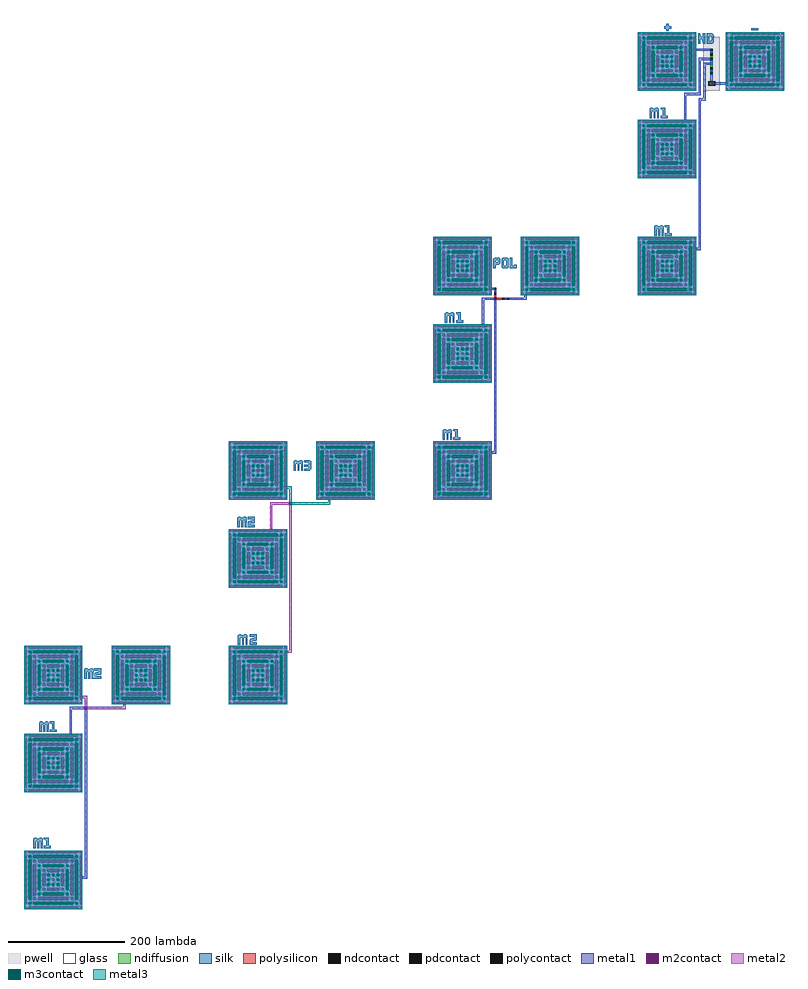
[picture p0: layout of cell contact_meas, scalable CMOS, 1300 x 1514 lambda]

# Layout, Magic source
magic
tech scmos
<< pwell >>
rect 1162 1400 1190 1492
<< polysilicon >>
rect 804 1055 808 1059
rect 804 1046 808 1051
rect 808 1042 818 1046
rect 822 1042 826 1046
<< ndiffusion >>
rect 1174 1464 1178 1468
rect 1174 1456 1178 1460
rect 1174 1440 1178 1452
rect 1174 1432 1178 1436
<< metal1 >>
rect 1150 1468 1174 1472
rect 1174 1464 1178 1468
rect 1154 1452 1174 1456
rect 1154 1396 1158 1452
rect 1174 1448 1178 1452
rect 1129 1392 1158 1396
rect 1162 1444 1178 1448
rect 1129 1350 1133 1392
rect 1162 1387 1166 1444
rect 1174 1432 1178 1436
rect 1174 1416 1178 1428
rect 1182 1410 1200 1414
rect 1154 1383 1166 1387
rect 1154 1131 1158 1383
rect 1150 1127 1158 1131
rect 800 1059 804 1063
rect 804 1055 808 1059
rect 856 1046 860 1050
rect 783 1042 804 1046
rect 822 1042 826 1046
rect 830 1042 860 1046
rect 783 1000 787 1042
rect 804 783 808 1042
rect 800 779 808 783
rect 78 342 104 346
rect 78 300 82 342
rect 104 56 108 342
rect 100 52 108 56
<< metal2 >>
rect 421 692 454 696
rect 421 650 425 692
rect 454 442 458 692
rect 450 438 458 442
rect 100 361 108 365
rect 104 346 108 361
rect 170 346 174 350
rect 108 342 174 346
<< metal3 >>
rect 450 719 458 723
rect 454 696 458 719
rect 520 696 524 700
rect 458 692 524 696
<< polycontact >>
rect 804 1059 808 1063
rect 804 1051 808 1055
rect 804 1042 808 1046
rect 818 1042 822 1046
rect 826 1042 830 1046
<< ndcontact >>
rect 1174 1468 1178 1472
rect 1174 1460 1178 1464
rect 1174 1452 1178 1456
rect 1174 1436 1178 1440
rect 1174 1428 1178 1432
<< pdcontact >>
rect 1170 1408 1182 1416
<< m2contact >>
rect 104 342 108 346
<< m3contact >>
rect 454 692 458 696
use L500_CHAR_plus  L500_CHAR_plus_0 ../../Library/magic
transform 1 0 1095 0 1 1498
box 0 4 12 16
use L500_CHAR_minus  L500_CHAR_minus_0 ../../Library/magic
transform 1 0 1244 0 1 1495
box 0 8 12 12
use L500_TPAD_blank  L500_TPAD_blank_8 ../../Library/magic
transform 1 0 1050 0 1 1400
box 0 0 100 100
use L500_CHAR_n  L500_CHAR_n_0 ../../Library/magic
transform 1 0 1153 0 1 1480
box 0 0 12 18
use L500_CHAR_d  L500_CHAR_d_0 ../../Library/magic
transform 1 0 1168 0 1 1480
box 0 0 12 18
use L500_TPAD_blank  L500_TPAD_blank_9
transform 1 0 1200 0 1 1400
box 0 0 100 100
use L500_CHAR_m  L500_CHAR_m_9 ../../Library/magic
transform 1 0 1070 0 1 1353
box 0 0 16 18
use L500_CHAR_1  L500_CHAR_1_5 ../../Library/magic
transform 1 0 1089 0 1 1353
box 0 0 12 18
use L500_TPAD_blank  L500_TPAD_blank_10
transform 1 0 1050 0 1 1250
box 0 0 100 100
use L500_CHAR_m  L500_CHAR_m_8
transform 1 0 1078 0 1 1152
box 0 0 16 18
use L500_CHAR_1  L500_CHAR_1_4
transform 1 0 1096 0 1 1152
box 0 0 12 18
use L500_TPAD_blank  L500_TPAD_blank_11
transform 1 0 700 0 1 1050
box 0 0 100 100
use L500_CHAR_p  L500_CHAR_p_0 ../../Library/magic
transform 1 0 803 0 1 1096
box 0 0 12 18
use L500_CHAR_o  L500_CHAR_o_0 ../../Library/magic
transform 1 0 817 0 1 1096
box 0 0 12 18
use L500_CHAR_l  L500_CHAR_l_0 ../../Library/magic
transform 1 0 831 0 1 1096
box 0 0 12 18
use L500_TPAD_blank  L500_TPAD_blank_12
transform 1 0 850 0 1 1050
box 0 0 100 100
use L500_TPAD_blank  L500_TPAD_blank_13
transform 1 0 1050 0 1 1050
box 0 0 100 100
use L500_CHAR_m  L500_CHAR_m_7
transform 1 0 720 0 1 1003
box 0 0 16 18
use L500_CHAR_1  L500_CHAR_1_3
transform 1 0 739 0 1 1003
box 0 0 12 18
use L500_TPAD_blank  L500_TPAD_blank_14
transform 1 0 700 0 1 900
box 0 0 100 100
use L500_CHAR_m  L500_CHAR_m_6
transform 1 0 716 0 1 803
box 0 0 16 18
use L500_CHAR_1  L500_CHAR_1_2
transform 1 0 734 0 1 803
box 0 0 12 18
use L500_TPAD_blank  L500_TPAD_blank_4
transform 1 0 350 0 1 700
box 0 0 100 100
use L500_CHAR_m  L500_CHAR_m_5
transform 1 0 461 0 1 750
box 0 0 16 18
use L500_CHAR_3  L500_CHAR_3_0 ../../Library/magic
transform 1 0 479 0 1 750
box 0 0 12 18
use L500_TPAD_blank  L500_TPAD_blank_5
transform 1 0 500 0 1 700
box 0 0 100 100
use L500_TPAD_blank  L500_TPAD_blank_15
transform 1 0 700 0 1 700
box 0 0 100 100
use L500_CHAR_m  L500_CHAR_m_4
transform 1 0 365 0 1 653
box 0 0 16 18
use L500_CHAR_2  L500_CHAR_2_2 ../../Library/magic
transform 1 0 383 0 1 653
box 0 0 12 18
use L500_TPAD_blank  L500_TPAD_blank_6
transform 1 0 350 0 1 550
box 0 0 100 100
use L500_CHAR_m  L500_CHAR_m_3
transform 1 0 366 0 1 452
box 0 0 16 18
use L500_CHAR_2  L500_CHAR_2_1
transform 1 0 386 0 1 452
box 0 0 12 18
use L500_TPAD_blank  L500_TPAD_blank_2
transform 1 0 0 0 1 350
box 0 0 100 100
use L500_CHAR_m  L500_CHAR_m_2
transform 1 0 103 0 1 394
box 0 0 16 18
use L500_CHAR_2  L500_CHAR_2_0
transform 1 0 120 0 1 394
box 0 0 12 18
use L500_TPAD_blank  L500_TPAD_blank_3
transform 1 0 150 0 1 350
box 0 0 100 100
use L500_TPAD_blank  L500_TPAD_blank_7
transform 1 0 350 0 1 350
box 0 0 100 100
use L500_CHAR_m  L500_CHAR_m_1
transform 1 0 26 0 1 303
box 0 0 16 18
use L500_CHAR_1  L500_CHAR_1_1
transform 1 0 44 0 1 303
box 0 0 12 18
use L500_TPAD_blank  L500_TPAD_blank_1
transform 1 0 0 0 1 200
box 0 0 100 100
use L500_CHAR_m  L500_CHAR_m_0
transform 1 0 16 0 1 104
box 0 0 16 18
use L500_CHAR_1  L500_CHAR_1_0
transform 1 0 34 0 1 104
box 0 0 12 18
use L500_TPAD_blank  L500_TPAD_blank_0
transform 1 0 0 0 1 0
box 0 0 100 100
<< end >>

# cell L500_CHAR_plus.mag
magic
tech scmos
<< silk >>
rect 4 12 8 16
rect 0 8 12 12
rect 4 4 8 8
<< end >>

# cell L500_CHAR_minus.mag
magic
tech scmos
<< silk >>
rect 0 8 12 12
<< end >>

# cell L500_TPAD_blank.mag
magic
tech scmos
<< metal1 >>
rect 4 96 8 100
rect 92 96 96 100
rect 0 92 100 96
rect 4 84 96 92
rect 4 80 16 84
rect 20 80 24 84
rect 76 80 80 84
rect 84 80 96 84
rect 4 76 96 80
rect 4 24 16 76
rect 20 68 80 76
rect 20 64 32 68
rect 36 64 40 68
rect 60 64 64 68
rect 68 64 80 68
rect 20 60 80 64
rect 20 40 32 60
rect 36 52 64 60
rect 36 48 48 52
rect 52 48 64 52
rect 36 40 64 48
rect 68 40 80 60
rect 20 36 80 40
rect 20 32 32 36
rect 36 32 40 36
rect 60 32 64 36
rect 68 32 80 36
rect 20 24 80 32
rect 84 24 96 76
rect 4 20 96 24
rect 4 16 16 20
rect 20 16 24 20
rect 76 16 80 20
rect 84 16 96 20
rect 4 8 96 16
rect 0 4 100 8
rect 4 0 8 4
rect 92 0 96 4
<< metal2 >>
rect 4 96 8 100
rect 92 96 96 100
rect 0 92 100 96
rect 4 88 8 92
rect 12 88 16 92
rect 84 88 88 92
rect 92 88 96 92
rect 4 84 96 88
rect 4 16 8 84
rect 12 80 16 84
rect 20 80 24 84
rect 76 80 80 84
rect 84 80 88 84
rect 12 76 88 80
rect 12 24 16 76
rect 20 72 24 76
rect 28 72 32 76
rect 68 72 72 76
rect 76 72 80 76
rect 20 68 80 72
rect 20 32 24 68
rect 28 64 32 68
rect 36 64 40 68
rect 60 64 64 68
rect 68 64 72 68
rect 28 60 72 64
rect 28 40 32 60
rect 36 56 40 60
rect 44 56 48 60
rect 52 56 56 60
rect 60 56 64 60
rect 36 52 64 56
rect 36 48 40 52
rect 44 48 48 52
rect 52 48 56 52
rect 60 48 64 52
rect 36 44 64 48
rect 36 40 40 44
rect 44 40 48 44
rect 52 40 56 44
rect 60 40 64 44
rect 68 40 72 60
rect 28 36 72 40
rect 28 32 32 36
rect 36 32 40 36
rect 60 32 64 36
rect 68 32 72 36
rect 76 32 80 68
rect 20 28 80 32
rect 20 24 24 28
rect 28 24 32 28
rect 68 24 72 28
rect 76 24 80 28
rect 84 24 88 76
rect 12 20 88 24
rect 12 16 16 20
rect 20 16 24 20
rect 76 16 80 20
rect 84 16 88 20
rect 92 16 96 84
rect 4 12 96 16
rect 4 8 8 12
rect 12 8 16 12
rect 84 8 88 12
rect 92 8 96 12
rect 0 4 100 8
rect 4 0 8 4
rect 92 0 96 4
<< metal3 >>
rect 0 92 100 100
rect 0 88 8 92
rect 12 88 16 92
rect 84 88 88 92
rect 92 88 100 92
rect 0 84 100 88
rect 0 16 8 84
rect 12 76 88 84
rect 12 72 24 76
rect 28 72 32 76
rect 68 72 72 76
rect 76 72 88 76
rect 12 68 88 72
rect 12 32 24 68
rect 28 60 72 68
rect 28 56 40 60
rect 44 56 48 60
rect 52 56 56 60
rect 60 56 72 60
rect 28 52 72 56
rect 28 48 40 52
rect 44 48 56 52
rect 60 48 72 52
rect 28 44 72 48
rect 28 40 40 44
rect 44 40 48 44
rect 52 40 56 44
rect 60 40 72 44
rect 28 32 72 40
rect 76 32 88 68
rect 12 28 88 32
rect 12 24 24 28
rect 28 24 32 28
rect 68 24 72 28
rect 76 24 88 28
rect 12 16 88 24
rect 92 16 100 84
rect 0 12 100 16
rect 0 8 8 12
rect 12 8 16 12
rect 84 8 88 12
rect 92 8 100 12
rect 0 0 100 8
<< m2contact >>
rect 0 96 4 100
rect 8 96 92 100
rect 96 96 100 100
rect 0 8 4 92
rect 16 80 20 84
rect 24 80 76 84
rect 80 80 84 84
rect 16 24 20 76
rect 32 64 36 68
rect 40 64 60 68
rect 64 64 68 68
rect 32 40 36 60
rect 48 48 52 52
rect 64 40 68 60
rect 32 32 36 36
rect 40 32 60 36
rect 64 32 68 36
rect 80 24 84 76
rect 16 16 20 20
rect 24 16 76 20
rect 80 16 84 20
rect 96 8 100 92
rect 0 0 4 4
rect 8 0 92 4
rect 96 0 100 4
<< m3contact >>
rect 8 88 12 92
rect 16 88 84 92
rect 88 88 92 92
rect 8 16 12 84
rect 24 72 28 76
rect 32 72 68 76
rect 72 72 76 76
rect 24 32 28 68
rect 40 56 44 60
rect 48 56 52 60
rect 56 56 60 60
rect 40 48 44 52
rect 56 48 60 52
rect 40 40 44 44
rect 48 40 52 44
rect 56 40 60 44
rect 72 32 76 68
rect 24 24 28 28
rect 32 24 68 28
rect 72 24 76 28
rect 88 16 92 84
rect 8 8 12 12
rect 16 8 84 12
rect 88 8 92 12
<< glass >>
rect 12 12 88 88
<< end >>

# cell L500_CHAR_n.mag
magic
tech scmos
<< silk >>
rect 0 16 3 18
rect 0 14 4 16
rect 0 12 5 14
rect 8 12 12 18
rect 0 8 12 12
rect 0 0 4 8
rect 7 4 12 8
rect 8 2 12 4
rect 9 0 12 2
<< end >>

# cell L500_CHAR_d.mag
magic
tech scmos
<< silk >>
rect 0 17 9 18
rect 0 16 10 17
rect 0 15 11 16
rect 0 14 12 15
rect 0 4 4 14
rect 7 12 12 14
rect 8 6 12 12
rect 7 4 12 6
rect 0 3 12 4
rect 0 2 11 3
rect 0 1 10 2
rect 0 0 9 1
<< end >>

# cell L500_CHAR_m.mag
magic
tech scmos
<< silk >>
rect 2 17 5 18
rect 11 17 14 18
rect 1 16 6 17
rect 10 16 15 17
rect 0 12 16 16
rect 0 0 4 12
rect 7 0 10 12
rect 13 0 16 12
<< end >>

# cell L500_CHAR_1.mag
magic
tech scmos
<< silk >>
rect 0 15 8 18
rect 2 14 8 15
rect 4 4 8 14
rect 0 0 12 4
<< end >>

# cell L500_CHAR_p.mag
magic
tech scmos
<< silk >>
rect 2 17 10 18
rect 1 16 11 17
rect 0 14 12 16
rect 0 10 4 14
rect 8 11 12 14
rect 7 10 12 11
rect 0 9 12 10
rect 0 8 11 9
rect 0 7 10 8
rect 0 6 9 7
rect 0 0 4 6
<< end >>

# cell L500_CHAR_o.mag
magic
tech scmos
<< silk >>
rect 2 17 10 18
rect 1 16 11 17
rect 0 14 12 16
rect 0 4 4 14
rect 8 4 12 14
rect 0 2 12 4
rect 1 1 11 2
rect 2 0 10 1
<< end >>

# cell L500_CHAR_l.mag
magic
tech scmos
<< silk >>
rect 0 4 4 18
rect 8 4 12 6
rect 0 0 12 4
<< end >>

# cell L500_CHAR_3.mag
magic
tech scmos
<< silk >>
rect 0 17 10 18
rect 0 16 11 17
rect 0 14 12 16
rect 6 13 12 14
rect 8 10 12 13
rect 0 7 12 10
rect 8 4 12 7
rect 6 3 12 4
rect 0 2 12 3
rect 0 1 11 2
rect 0 0 10 1
<< end >>

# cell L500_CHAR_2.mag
magic
tech scmos
<< silk >>
rect 0 14 12 18
rect 8 11 12 14
rect 4 10 12 11
rect 1 8 12 10
rect 0 7 11 8
rect 0 4 4 7
rect 0 0 12 4
<< end >>
